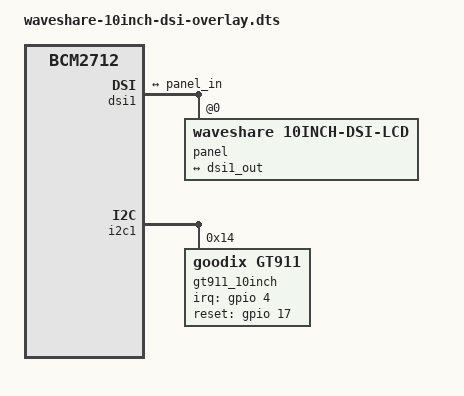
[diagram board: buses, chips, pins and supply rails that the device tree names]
// Raspberry Pi 5 - Waveshare Large DSI Displays
// Device Tree Overlays for 10", 11.9", 13.3" displays
// Copyright (C) 2025 The Android Open Source Project

/dts-v1/;
/plugin/;

// ============================================================================
// Waveshare 10.1" DSI Display (1280x800)
// ============================================================================
/ {
    compatible = "brcm,bcm2712";
    
    fragment@0 {
        target = <&dsi1>;
        __overlay__ {
            status = "okay";
            #address-cells = <1>;
            #size-cells = <0>;
            
            port {
                dsi1_out: endpoint {
                    remote-endpoint = <&panel_in>;
                };
            };
            
            panel: panel@0 {
                compatible = "waveshare,10inch-dsi-lcd";
                reg = <0>;
                
                width-mm = <217>;
                height-mm = <136>;
                
                panel-timing {
                    clock-frequency = <70000000>;
                    hactive = <1280>;
                    vactive = <800>;
                    hfront-porch = <40>;
                    hback-porch = <40>;
                    hsync-len = <20>;
                    vfront-porch = <10>;
                    vback-porch = <10>;
                    vsync-len = <10>;
                };
                
                port {
                    panel_in: endpoint {
                        remote-endpoint = <&dsi1_out>;
                    };
                };
            };
        };
    };
    
    fragment@1 {
        target = <&i2c1>;
        __overlay__ {
            status = "okay";
            #address-cells = <1>;
            #size-cells = <0>;
            
            gt911_10inch: gt911@14 {
                compatible = "goodix,gt911";
                reg = <0x14>;
                interrupt-parent = <&gpio>;
                interrupts = <4 2>;
                irq-gpios = <&gpio 4 0>;
                reset-gpios = <&gpio 17 0>;
                touchscreen-size-x = <1280>;
                touchscreen-size-y = <800>;
            };
        };
    };
};
